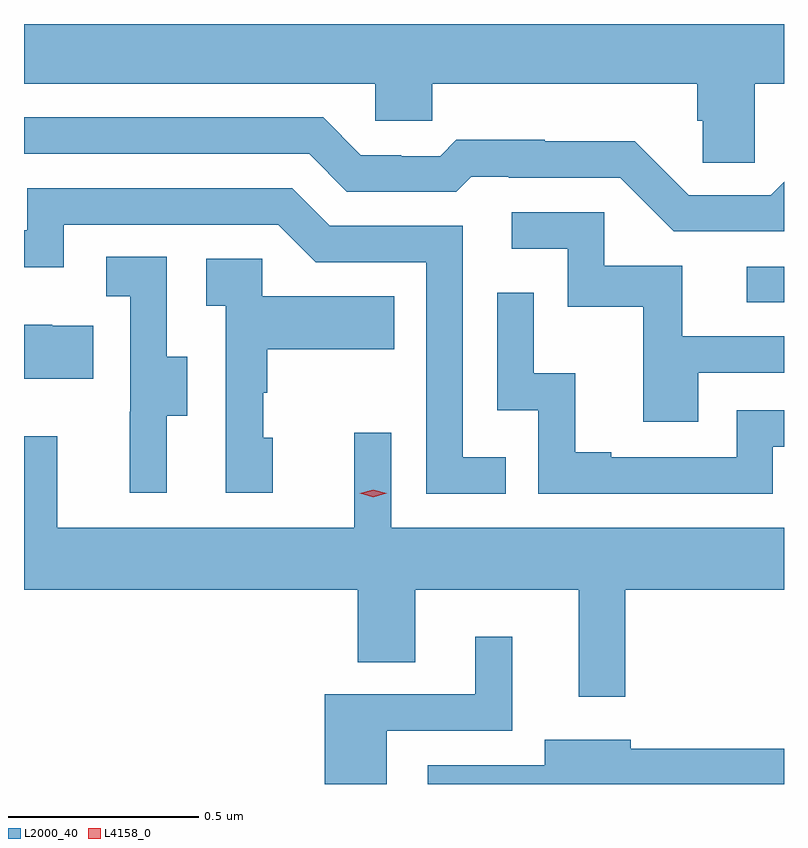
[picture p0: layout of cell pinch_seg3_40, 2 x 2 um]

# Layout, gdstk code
import gdstk
lib = gdstk.Library(unit=1e-6, precision=1e-09)
def R(c, l, rs):  # rectangles x0, y0, x1, y1
    for r in rs: c.add(gdstk.rectangle(r[:2], r[2:], *l))
def P(c, l, *ps):  # polygons
    for p in ps: c.add(gdstk.Polygon(p, *l))
L2000_40 = (2000, 40)
L4158_0 = (4158, 0)

pinch_seg3_40 = lib.new_cell('pinch_seg3_40')
R(pinch_seg3_40, L2000_40, [(1107.957,742.965,1108.055,743.058)])
P(pinch_seg3_40, L2000_40, [(1107.978,743.54),(1108.055,743.54),(1108.055,743.697),(1106.055,743.697),(1106.055,743.54),(1106.979,743.54),(1106.979,743.442),(1107.129,743.442),(1107.129,743.54),(1107.827,743.54),(1107.827,743.442),(1107.841,743.442),(1107.841,743.332),(1107.978,743.332)],
  [(1108.055,743.282),(1108.02,743.247),(1107.804,743.247),(1107.662,743.389),(1107.426,743.389),(1107.426,743.392),(1107.193,743.392),(1107.151,743.349),(1107.048,743.349),(1107.048,743.352),(1106.941,743.352),(1106.842,743.451),(1106.055,743.451),(1106.055,743.355),(1106.805,743.355),(1106.904,743.256),(1107.193,743.256),(1107.232,743.295),(1107.331,743.295),(1107.331,743.292),(1107.624,743.292),(1107.765,743.151),(1108.055,743.151)],
  [(1107.323,742.557),(1107.21,742.557),(1107.21,743.166),(1106.86,743.166),(1106.761,743.265),(1106.064,743.265),(1106.064,743.154),(1106.055,743.154),(1106.055,743.057),(1106.16,743.057),(1106.16,743.169),(1106.724,743.169),(1106.823,743.07),(1107.114,743.07),(1107.114,742.461),(1107.323,742.461)],
  [(1107.829,742.779),(1108.055,742.779),(1108.055,742.875),(1107.787,742.875),(1107.787,743.061),(1107.582,743.061),(1107.582,743.202),(1107.339,743.202),(1107.339,743.106),(1107.486,743.106),(1107.486,742.953),(1107.685,742.953),(1107.685,742.65),(1107.829,742.65)],
  [(1106.431,742.666),(1106.485,742.666),(1106.485,742.821),(1106.43,742.821),(1106.43,743.084),(1106.271,743.084),(1106.271,742.981),(1106.334,742.981),(1106.334,742.677),(1106.333,742.677),(1106.333,742.464),(1106.431,742.464)],
  [(1106.71,742.608),(1106.685,742.608),(1106.685,742.727),(1106.695,742.727),(1106.695,742.841),(1107.029,742.841),(1107.029,742.981),(1106.682,742.981),(1106.682,743.079),(1106.535,743.079),(1106.535,742.955),(1106.586,742.955),(1106.586,742.464),(1106.71,742.464)],
  [(1108.026,742.584),(1108.055,742.584),(1108.055,742.68),(1107.93,742.68),(1107.93,742.557),(1107.601,742.557),(1107.601,742.57),(1107.506,742.57),(1107.506,742.778),(1107.396,742.778),(1107.396,742.99),(1107.3,742.99),(1107.3,742.68),(1107.408,742.68),(1107.408,742.461),(1108.026,742.461)],
  [(1106.237,742.903),(1106.129,742.903),(1106.129,742.906),(1106.055,742.906),(1106.055,742.763),(1106.237,742.763)],
  [(1107.637,742.208),(1108.055,742.208),(1108.055,742.372),(1107.021,742.372),(1107.021,742.621),(1106.924,742.621),(1106.924,742.372),(1106.143,742.372),(1106.143,742.612),(1106.055,742.612),(1106.055,742.208),(1106.933,742.208),(1106.933,742.018),(1107.085,742.018),(1107.085,742.208),(1107.515,742.208),(1107.515,741.927),(1107.637,741.927)],
  [(1107.01,741.837),(1107.34,741.837),(1107.34,742.084),(1107.242,742.084),(1107.242,741.933),(1106.846,741.933),(1106.846,741.697),(1107.01,741.697)],
  [(1108.055,741.79),(1107.652,741.79),(1107.652,741.814),(1107.425,741.814),(1107.425,741.747),(1107.117,741.747),(1107.117,741.697),(1108.055,741.697)])
P(pinch_seg3_40, L4158_0, [(1106.974,742.452),(1106.939,742.462),(1106.939,742.462),(1106.939,742.462),(1106.974,742.472),(1107.009,742.462),(1107.009,742.462),(1107.009,742.462)])

lib.write_gds('pinch_seg3_40.gds')
